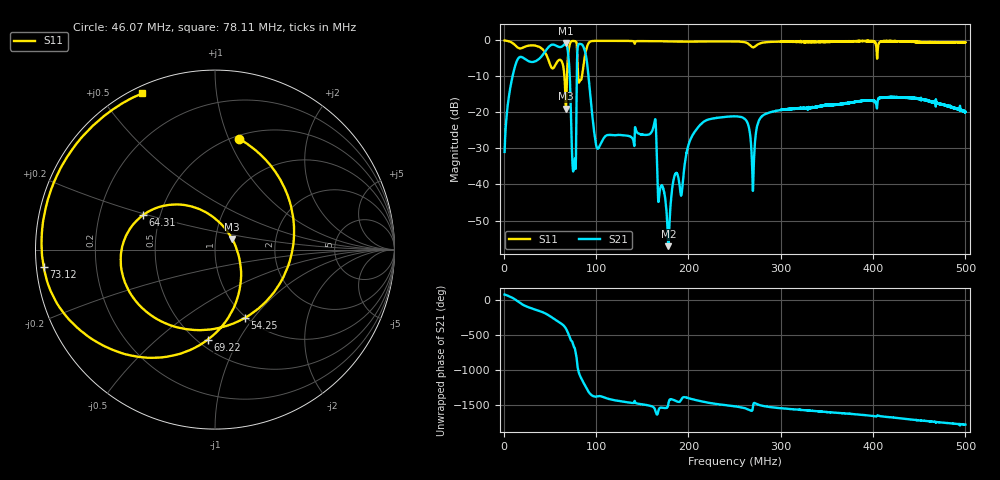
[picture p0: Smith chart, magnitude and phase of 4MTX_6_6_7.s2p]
! NanoVNA-App
! Date: 2026-08-18 22:10:19
! Start: 1MHz Stop: 500MHz Points: 6401
! S-Parameter data: F S11 S21 S12 S22
# Hz S RI R 50
!  Frequency  S11_Real  S11_Imag  S21_Real  S21_Imag  S12_Real  S12_Imag  S22_Real  S22_Imag
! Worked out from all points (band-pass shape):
!   6401 points, 1 MHz to 500 MHz, reference 50 ohm
!   highest |S21| = -0.89 dB at 67.12 MHz (marker M1); lowest = -57.1 dB at 178.3 MHz (marker M2)
!   |S21| within 3 dB of the highest: 42.85 MHz to 69.84 MHz (26.98 MHz wide, 47.9 % of centre); 79.65 MHz to 88.76 MHz (9.11 MHz wide, 10.8 % of centre)
!   lowest |S11| = -19.0 dB at 67.35 MHz (marker M3), VSWR 1.25, Z = 60.1 + j7.15 ohm
!   |S11| at or under -10 dB: 65.76 MHz to 68.49 MHz (2.733 MHz wide, 4.07 % of centre); 80.61 MHz to 84.8 MHz (4.195 MHz wide, 5.07 % of centre)
!   S12 and S22 are empty: the file has one direction only
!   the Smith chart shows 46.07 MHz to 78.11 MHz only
!   S11 on the Smith chart (normalised r, x): 46.07 MHz: 0.54, +1.09; 54.25 MHz: 0.98, -0.90; 64.31 MHz: 0.40, +0.19; 69.22 MHz: 0.56, -0.75; 73.12 MHz: 0.02, -0.05; 78.11 MHz: 0.03, +0.64
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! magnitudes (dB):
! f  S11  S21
! 1 MHz  -0.1  -31.0
! 14.49 MHz  -1.9  -5.6
! 46.07 MHz  -4.0  -2.7
! 54.25 MHz  -7.6  -1.3
! 64.31 MHz  -7.0  -1.5
! 67.12 MHz  -17.9  -0.9
! 67.35 MHz  -19.0  -0.9
! 69.22 MHz  -6.0  -2.6
! 73.12 MHz  -0.4  -23.7
! 75.93 MHz  -0.2  -35.6
! 78.11 MHz  -0.4  -34.7
! 84.19 MHz  -10.8  -1.1
! 101.3 MHz  -0.2  -30.0
! 162.6 MHz  -0.3  -23.6
! 167.4 MHz  -0.3  -44.6
! 178.3 MHz  -0.3  -57.1
! 205.7 MHz  -0.4  -25.8
! 250.5 MHz  -0.4  -21.1
! 269.9 MHz  -2.0  -41.8
! 333.7 MHz  -0.5  -18.7
! 416.9 MHz  -0.3  -15.9
! 500 MHz  -0.6  -19.9
